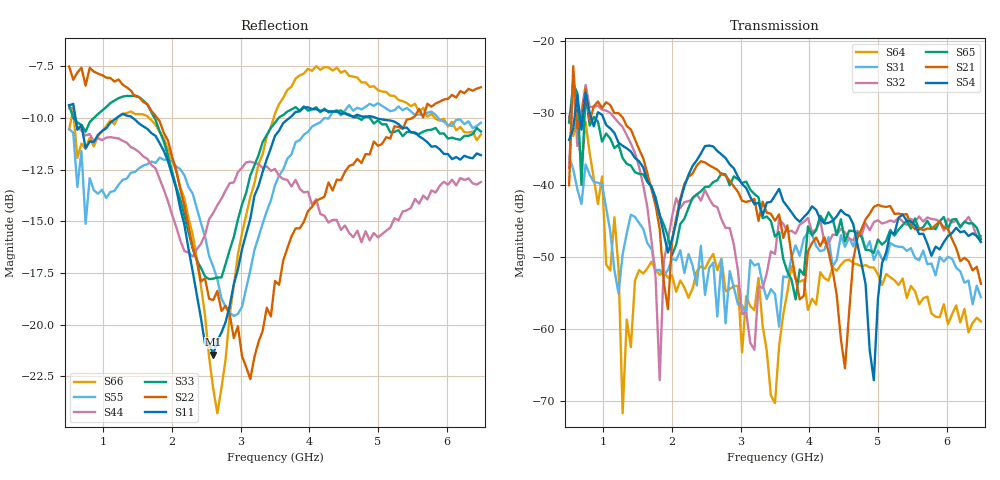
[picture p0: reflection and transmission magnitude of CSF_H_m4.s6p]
!Keysight Technologies,M9804A,MY58100912,A.14.10.03
!Date: Thursday, April 27, 2023 10:28:33
!Correction: S11(C  6-Port  )
!S12(C  6-Port  )
!S13(C  6-Port  )
!S14(C  6-Port  )
!S15(C  6-Port  )
!S16(C  6-Port  )
!S21(C  6-Port  )
!S22(C  6-Port  )
!S23(C  6-Port  )
!S24(C  6-Port  )
!S25(C  6-Port  )
!S26(C  6-Port  )
!S31(C  6-Port  )
!S32(C  6-Port  )
!S33(C  6-Port  )
!S34(C  6-Port  )
!S35(C  6-Port  )
!S36(C  6-Port  )
!S41(C  6-Port  )
!S42(C  6-Port  )
!S43(C  6-Port  )
!S44(C  6-Port  )
!S45(C  6-Port  )
!S46(C  6-Port  )
!S51(C  6-Port  )
!S52(C  6-Port  )
!S53(C  6-Port  )
!S54(C  6-Port  )
!S55(C  6-Port  )
!S56(C  6-Port  )
!S61(C  6-Port  )
!S62(C  6-Port  )
!S63(C  6-Port  )
!S64(C  6-Port  )
!S65(C  6-Port  )
!S66(C  6-Port  )
!S6P File: Measurement: :
# Hz S  RI  R 50
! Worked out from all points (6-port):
!   101 points, 500 MHz to 6.5 GHz, reference 50 ohm
!   strongest paths, dB at 500 MHz, 2 GHz, 3.5 GHz, 5 GHz, 6.5 GHz:
!     S54: -33.7, -47.5, -41.5, -55.8, -47.9
!     S21: -40.0, -47.8, -45.0, -42.8, -53.7
!     S65: -31.3, -49.8, -47.2, -47.6, -47.5
!     S32: -37.6, -44.4, -49.6, -44.9, -47.1
!     S31: -36.1, -50.3, -55.2, -49.1, -55.6
!     S64: -30.5, -52.6, -70.3, -52.4, -59.0
!   lowest |S11| = -21.5 dB at 2.6 GHz (marker M1), VSWR 1.18, Z = 42.5 + j2.15 ohm
!   |S11| at or under -10 dB: 592.6 MHz to 1.192 GHz (599.3 MHz wide, 67.2 % of centre); 1.429 GHz to 3.71 GHz (2.282 GHz wide, 88.8 % of centre); 4.974 GHz to end of sweep
